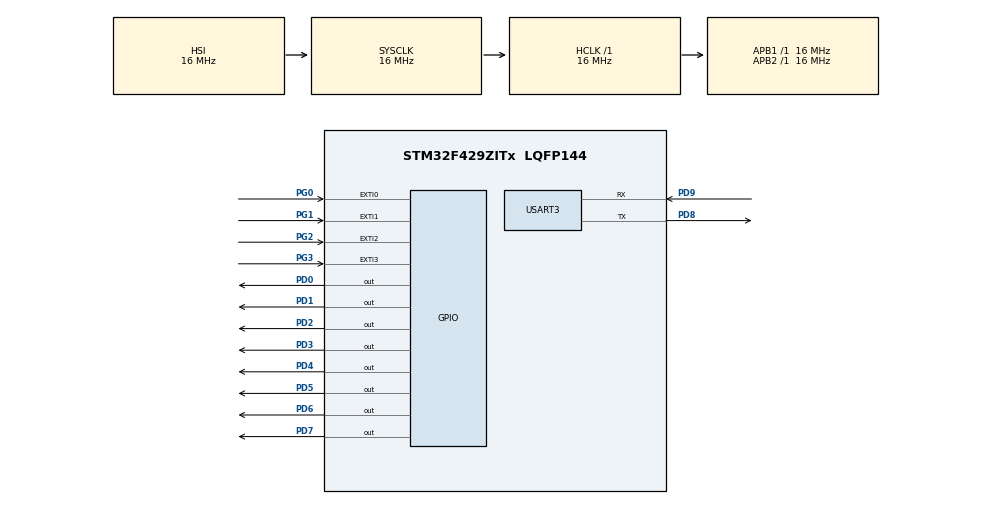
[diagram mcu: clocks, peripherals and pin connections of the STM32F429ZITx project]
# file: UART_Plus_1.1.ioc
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Mcu.Family=STM32F4
Mcu.Name=STM32F429ZITx
Mcu.Package=LQFP144
NVIC.PriorityGroup=NVIC_PRIORITYGROUP_4
NVIC.USART3_IRQn=true\:0\:0\:false\:false\:true\:true\:true\:true
PD0.GPIO_ModeDefaultOutputPP=GPIO_MODE_OUTPUT_PP
PD0.GPIO_PuPd=GPIO_PULLUP
PD0.GPIO_Speed=GPIO_SPEED_FREQ_HIGH
PD0.PinState=GPIO_PIN_RESET
PD0.Signal=GPIO_Output
PD1.GPIO_ModeDefaultOutputPP=GPIO_MODE_OUTPUT_PP
PD1.GPIO_PuPd=GPIO_PULLUP
PD1.GPIO_Speed=GPIO_SPEED_FREQ_HIGH
PD1.PinState=GPIO_PIN_RESET
PD1.Signal=GPIO_Output
PD2.GPIO_ModeDefaultOutputPP=GPIO_MODE_OUTPUT_PP
PD2.GPIO_PuPd=GPIO_PULLUP
PD2.GPIO_Speed=GPIO_SPEED_FREQ_HIGH
PD2.PinState=GPIO_PIN_RESET
PD2.Signal=GPIO_Output
PD3.GPIO_ModeDefaultOutputPP=GPIO_MODE_OUTPUT_PP
PD3.GPIO_PuPd=GPIO_PULLUP
PD3.GPIO_Speed=GPIO_SPEED_FREQ_HIGH
PD3.PinState=GPIO_PIN_RESET
PD3.Signal=GPIO_Output
PD4.GPIO_ModeDefaultOutputPP=GPIO_MODE_OUTPUT_PP
PD4.GPIO_PuPd=GPIO_PULLUP
PD4.GPIO_Speed=GPIO_SPEED_FREQ_HIGH
PD4.PinState=GPIO_PIN_RESET
PD4.Signal=GPIO_Output
PD5.GPIO_ModeDefaultOutputPP=GPIO_MODE_OUTPUT_PP
PD5.GPIO_PuPd=GPIO_PULLUP
PD5.GPIO_Speed=GPIO_SPEED_FREQ_HIGH
PD5.PinState=GPIO_PIN_RESET
PD5.Signal=GPIO_Output
PD6.GPIO_ModeDefaultOutputPP=GPIO_MODE_OUTPUT_PP
PD6.GPIO_PuPd=GPIO_PULLUP
PD6.GPIO_Speed=GPIO_SPEED_FREQ_HIGH
PD6.PinState=GPIO_PIN_RESET
PD6.Signal=GPIO_Output
PD7.GPIO_ModeDefaultOutputPP=GPIO_MODE_OUTPUT_PP
PD7.GPIO_PuPd=GPIO_PULLUP
PD7.GPIO_Speed=GPIO_SPEED_FREQ_HIGH
PD7.PinState=GPIO_PIN_RESET
PD7.Signal=GPIO_Output
PD8.Mode=Asynchronous
PD8.Signal=USART3_TX
PD9.Mode=Asynchronous
PD9.Signal=USART3_RX
PG0.GPIO_ModeDefaultEXTI=GPIO_MODE_IT_FALLING
PG0.GPIO_PuPd=GPIO_NOPULL
PG0.Signal=GPXTI0
PG1.GPIO_ModeDefaultEXTI=GPIO_MODE_IT_FALLING
PG1.GPIO_PuPd=GPIO_NOPULL
PG1.Signal=GPXTI1
PG2.GPIO_ModeDefaultEXTI=GPIO_MODE_IT_FALLING
PG2.GPIO_PuPd=GPIO_NOPULL
PG2.Signal=GPXTI2
PG3.GPIO_ModeDefaultEXTI=GPIO_MODE_IT_FALLING
PG3.GPIO_PuPd=GPIO_NOPULL
PG3.Signal=GPXTI3
ProjectManager.HeapSize=0x200
ProjectManager.StackSize=0x400
ProjectManager.TargetToolchain=STM32CubeIDE
RCC.AHBFreq_Value=16000000
RCC.APB1Freq_Value=16000000
RCC.APB2Freq_Value=16000000
RCC.CortexFreq_Value=16000000
RCC.HSE_VALUE=25000000
RCC.HSI_VALUE=16000000
RCC.LSE_VALUE=32768
RCC.SYSCLKFreq_VALUE=16000000
RCC.VCOOutputFreq_Value=192000000
USART3.VirtualMode=VM_ASYNC
board=custom

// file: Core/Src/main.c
/* USER CODE BEGIN Header */
/**
  ******************************************************************************
  * @file           : main.c
  * @brief          : Main program body
  ******************************************************************************
  * @attention
  *
  * Copyright (c) 2022 STMicroelectronics.
  * All rights reserved.
  *
  * This software is licensed under terms that can be found in the LICENSE file
  * in the root directory of this software component.
  * If no LICENSE file comes with this software, it is provided AS-IS.
  *
  ******************************************************************************
  */
/* USER CODE END Header */
#include "main.h"

/* USER CODE BEGIN PD */
#define TxBufferSize	(countof(TxBuffer)-1)
#define TxBufferSize_2	(countof(TxBuffer_2)-1)
#define TxBufferSize_3	(countof(TxBuffer_3)-1)
#define TxBufferSize_4	(countof(TxBuffer_4)-1)
#define TxBufferSize_5	(countof(TxBuffer_5)-1)
#define RxBufferSize	0XFF
#define countof(a)		(sizeof(a) / sizeof(*(a)))
/* USER CODE END PD */

UART_HandleTypeDef huart3;

/* USER CODE BEGIN PV */
uint8_t TxBuffer[] = "\n\rUART Plus Example 1 (Transmission Success !!)\n\r\n\r";
uint8_t TxBuffer_2[] = "\n\r Button1 is pressed !! \n\r";
uint8_t RxBuffer[RxBufferSize];
/* USER CODE END PV */

void SystemClock_Config(void);
static void MX_GPIO_Init(void);
static void MX_USART3_UART_Init(void);
/* USER CODE BEGIN PFP */
void LED_OnOff(int, int);
/* USER CODE END PFP */

int main(void)
{

  /* MCU Configuration--------------------------------------------------------*/

  /* Reset of all peripherals, Initializes the Flash interface and the Systick. */
  HAL_Init();

  /* Configure the system clock */
  SystemClock_Config();

  /* Initialize all configured peripherals */
  MX_GPIO_Init();
  MX_USART3_UART_Init();
  /* USER CODE BEGIN 2 */

  LED_OnOff(LED_ALL, 500);
  HAL_UART_Transmit(&huart3, (uint8_t*)TxBuffer, TxBufferSize, 0xFFFF);

  /* USER CODE END 2 */

  /* Infinite loop */
  while (1)
  {

  }
}

void SystemClock_Config(void)
{
  RCC_OscInitTypeDef RCC_OscInitStruct = {0};
  RCC_ClkInitTypeDef RCC_ClkInitStruct = {0};

  /** Configure the main internal regulator output voltage
  */
  __HAL_RCC_PWR_CLK_ENABLE();
  __HAL_PWR_VOLTAGESCALING_CONFIG(PWR_REGULATOR_VOLTAGE_SCALE3);

  /** Initializes the RCC Oscillators according to the specified parameters
  * in the RCC_OscInitTypeDef structure.
  */
  RCC_OscInitStruct.OscillatorType = RCC_OSCILLATORTYPE_HSI;
  RCC_OscInitStruct.HSIState = RCC_HSI_ON;
  RCC_OscInitStruct.HSICalibrationValue = RCC_HSICALIBRATION_DEFAULT;
  RCC_OscInitStruct.PLL.PLLState = RCC_PLL_NONE;
  if (HAL_RCC_OscConfig(&RCC_OscInitStruct) != HAL_OK)
  {
    Error_Handler();
  }

  /** Initializes the CPU, AHB and APB buses clocks
  */
  RCC_ClkInitStruct.ClockType = RCC_CLOCKTYPE_HCLK|RCC_CLOCKTYPE_SYSCLK
                              |RCC_CLOCKTYPE_PCLK1|RCC_CLOCKTYPE_PCLK2;
  RCC_ClkInitStruct.SYSCLKSource = RCC_SYSCLKSOURCE_HSI;
  RCC_ClkInitStruct.AHBCLKDivider = RCC_SYSCLK_DIV1;
  RCC_ClkInitStruct.APB1CLKDivider = RCC_HCLK_DIV1;
  RCC_ClkInitStruct.APB2CLKDivider = RCC_HCLK_DIV1;

  if (HAL_RCC_ClockConfig(&RCC_ClkInitStruct, FLASH_LATENCY_0) != HAL_OK)
  {
    Error_Handler();
  }
}

static void MX_USART3_UART_Init(void)
{

  huart3.Instance = USART3;
  huart3.Init.BaudRate = 115200;
  huart3.Init.WordLength = UART_WORDLENGTH_8B;
  huart3.Init.StopBits = UART_STOPBITS_1;
  huart3.Init.Parity = UART_PARITY_NONE;
  huart3.Init.Mode = UART_MODE_TX_RX;
  huart3.Init.HwFlowCtl = UART_HWCONTROL_NONE;
  huart3.Init.OverSampling = UART_OVERSAMPLING_16;
  if (HAL_UART_Init(&huart3) != HAL_OK)
  {
    Error_Handler();
  }

}

static void MX_GPIO_Init(void)
{
  GPIO_InitTypeDef GPIO_InitStruct = {0};

  /* GPIO Ports Clock Enable */
  __HAL_RCC_GPIOG_CLK_ENABLE();
  __HAL_RCC_GPIOD_CLK_ENABLE();

  /*Configure GPIO pin Output Level */
  HAL_GPIO_WritePin(GPIOD, GPIO_PIN_0|GPIO_PIN_1|GPIO_PIN_2|GPIO_PIN_3
                          |GPIO_PIN_4|GPIO_PIN_5|GPIO_PIN_6|GPIO_PIN_7, GPIO_PIN_RESET);

  /*Configure GPIO pins : PG0 PG1 PG2 PG3 */
  GPIO_InitStruct.Pin = GPIO_PIN_0|GPIO_PIN_1|GPIO_PIN_2|GPIO_PIN_3;
  GPIO_InitStruct.Mode = GPIO_MODE_IT_FALLING;
  GPIO_InitStruct.Pull = GPIO_NOPULL;
  HAL_GPIO_Init(GPIOG, &GPIO_InitStruct);

  /*Configure GPIO pins : PD0 PD1 PD2 PD3
                           PD4 PD5 PD6 PD7 */
  GPIO_InitStruct.Pin = GPIO_PIN_0|GPIO_PIN_1|GPIO_PIN_2|GPIO_PIN_3
                          |GPIO_PIN_4|GPIO_PIN_5|GPIO_PIN_6|GPIO_PIN_7;
  GPIO_InitStruct.Mode = GPIO_MODE_OUTPUT_PP;
  GPIO_InitStruct.Pull = GPIO_PULLUP;
  GPIO_InitStruct.Speed = GPIO_SPEED_FREQ_HIGH;
  HAL_GPIO_Init(GPIOD, &GPIO_InitStruct);

}

/* USER CODE BEGIN 4 */
void LED_OnOff(int led, int interval)
{
	HAL_GPIO_WritePin(GPIO_LED, led, GPIO_PIN_SET);
	HAL_GPIO_WritePin(GPIO_LED_Nucleo, led, GPIO_PIN_SET);

	HAL_Delay(interval);

	HAL_GPIO_WritePin(GPIO_LED, led, GPIO_PIN_RESET);
	HAL_GPIO_WritePin(GPIO_LED_Nucleo, led, GPIO_PIN_RESET);
}
void HAL_GPIO_EXTI_Callback(uint16_t GPIO_Pin)
{
	switch(GPIO_Pin)
	{
		case GPIO_PIN_0:
		HAL_UART_Transmit(&huart3, (uint8_t*)TxBuffer_2, TxBufferSize_2, 0xFFFF);
		break;
	}
}
/* USER CODE END 4 */

void Error_Handler(void)
{
  __disable_irq();
  while (1)
  {
  }
}
